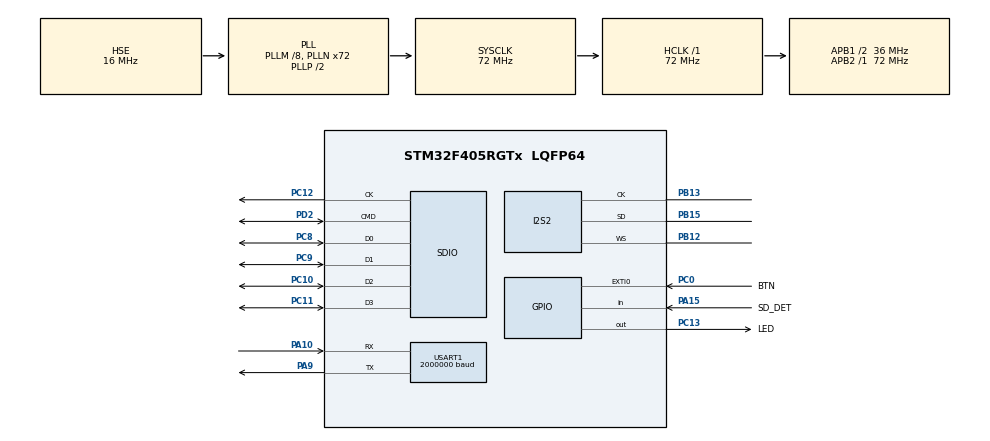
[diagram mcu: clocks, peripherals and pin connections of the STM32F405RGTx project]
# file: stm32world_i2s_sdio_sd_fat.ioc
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ARM.CMSIS.5.6.0.CMSISJjDSP=Library
Dma.Request0=SPI2_TX
Dma.Request1=USART1_RX
Dma.Request2=SDIO_RX
Dma.Request3=SDIO_TX
Dma.SDIO_RX.2.Direction=DMA_PERIPH_TO_MEMORY
Dma.SDIO_RX.2.FIFOMode=DMA_FIFOMODE_ENABLE
Dma.SDIO_RX.2.FIFOThreshold=DMA_FIFO_THRESHOLD_FULL
Dma.SDIO_RX.2.Instance=DMA2_Stream3
Dma.SDIO_RX.2.MemBurst=DMA_MBURST_INC4
Dma.SDIO_RX.2.MemDataAlignment=DMA_MDATAALIGN_WORD
Dma.SDIO_RX.2.MemInc=DMA_MINC_ENABLE
Dma.SDIO_RX.2.Mode=DMA_PFCTRL
Dma.SDIO_RX.2.PeriphBurst=DMA_PBURST_INC4
Dma.SDIO_RX.2.PeriphDataAlignment=DMA_PDATAALIGN_WORD
Dma.SDIO_RX.2.PeriphInc=DMA_PINC_DISABLE
Dma.SDIO_RX.2.Priority=DMA_PRIORITY_LOW
Dma.SDIO_TX.3.Direction=DMA_MEMORY_TO_PERIPH
Dma.SDIO_TX.3.FIFOMode=DMA_FIFOMODE_ENABLE
Dma.SDIO_TX.3.FIFOThreshold=DMA_FIFO_THRESHOLD_FULL
Dma.SDIO_TX.3.Instance=DMA2_Stream6
Dma.SDIO_TX.3.MemBurst=DMA_MBURST_INC4
Dma.SDIO_TX.3.MemDataAlignment=DMA_MDATAALIGN_WORD
Dma.SDIO_TX.3.MemInc=DMA_MINC_ENABLE
Dma.SDIO_TX.3.Mode=DMA_PFCTRL
Dma.SDIO_TX.3.PeriphBurst=DMA_PBURST_INC4
Dma.SDIO_TX.3.PeriphDataAlignment=DMA_PDATAALIGN_WORD
Dma.SDIO_TX.3.PeriphInc=DMA_PINC_DISABLE
Dma.SDIO_TX.3.Priority=DMA_PRIORITY_LOW
Dma.SPI2_TX.0.Direction=DMA_MEMORY_TO_PERIPH
Dma.SPI2_TX.0.FIFOMode=DMA_FIFOMODE_DISABLE
Dma.SPI2_TX.0.Instance=DMA1_Stream4
Dma.SPI2_TX.0.MemDataAlignment=DMA_MDATAALIGN_HALFWORD
Dma.SPI2_TX.0.MemInc=DMA_MINC_ENABLE
Dma.SPI2_TX.0.Mode=DMA_CIRCULAR
Dma.SPI2_TX.0.PeriphDataAlignment=DMA_PDATAALIGN_HALFWORD
Dma.SPI2_TX.0.PeriphInc=DMA_PINC_DISABLE
Dma.SPI2_TX.0.Priority=DMA_PRIORITY_MEDIUM
Dma.USART1_RX.1.Direction=DMA_PERIPH_TO_MEMORY
Dma.USART1_RX.1.FIFOMode=DMA_FIFOMODE_DISABLE
Dma.USART1_RX.1.Instance=DMA2_Stream2
Dma.USART1_RX.1.MemDataAlignment=DMA_MDATAALIGN_BYTE
Dma.USART1_RX.1.MemInc=DMA_MINC_ENABLE
Dma.USART1_RX.1.Mode=DMA_CIRCULAR
Dma.USART1_RX.1.PeriphDataAlignment=DMA_PDATAALIGN_BYTE
Dma.USART1_RX.1.PeriphInc=DMA_PINC_DISABLE
Dma.USART1_RX.1.Priority=DMA_PRIORITY_LOW
FATFS.BSP.number=1
FATFS.USE_DMA_CODE_SD=1
FATFS._FS_EXFAT=1
FATFS._FS_LOCK=8
FATFS._FS_NOFSINFO=1
FATFS._MAX_SS=4096
FATFS._USE_CHMOD=1
FATFS._USE_EXPAND=1
FATFS._USE_FIND=1
FATFS._USE_FORWARD=1
FATFS._USE_LABEL=1
FATFS._USE_LFN=1
FATFS._VOLUMES=1
FATFS0.BSP.STBoard=false
FATFS0.BSP.api=Unknown
FATFS0.BSP.instance=PA15
FATFS0.BSP.ip=GPIO
FATFS0.BSP.mode=Input
FATFS0.BSP.name=Detect_SDIO
FATFS0.BSP.solution=PA15
I2S2.AudioFreq=I2S_AUDIOFREQ_96K
I2S2.DataFormat=I2S_DATAFORMAT_16B
I2S2.ErrorAudioFreq=0.15 %
I2S2.FullDuplexMode=I2S_FULLDUPLEXMODE_DISABLE
I2S2.Instance=SPI$Index
I2S2.RealAudioFreq=96.153 KHz
I2S2.Standard=I2S_STANDARD_PHILIPS
I2S2.VirtualMode=I2S_MODE_MASTER
Mcu.Family=STM32F4
Mcu.Name=STM32F405RGTx
Mcu.Package=LQFP64
NVIC.DMA1_Stream4_IRQn=true\:0\:0\:false\:false\:true\:false\:true\:true
NVIC.DMA2_Stream2_IRQn=true\:0\:0\:true\:false\:true\:false\:true\:true
NVIC.DMA2_Stream3_IRQn=true\:0\:0\:false\:false\:true\:false\:true\:true
NVIC.DMA2_Stream6_IRQn=true\:0\:0\:false\:false\:true\:false\:true\:true
NVIC.EXTI0_IRQn=true\:0\:0\:false\:false\:true\:true\:true\:true
NVIC.PriorityGroup=NVIC_PRIORITYGROUP_4
NVIC.SDIO_IRQn=true\:0\:0\:false\:false\:true\:true\:true\:true
NVIC.USART1_IRQn=true\:0\:0\:true\:false\:true\:true\:true\:true
PA10.Mode=Asynchronous
PA10.Signal=USART1_RX
PA13.Mode=Trace_Asynchronous_SW
PA13.Signal=SYS_JTMS-SWDIO
PA14.Mode=Trace_Asynchronous_SW
PA14.Signal=SYS_JTCK-SWCLK
PA15.GPIO_Label=SD_DET
PA15.GPIO_PuPd=GPIO_PULLDOWN
PA15.Signal=GPIO_Input
PA9.Mode=Asynchronous
PA9.Signal=USART1_TX
PB12.Mode=Half_Duplex_Master
PB12.Signal=I2S2_WS
PB13.Mode=Half_Duplex_Master
PB13.Signal=I2S2_CK
PB15.Mode=Half_Duplex_Master
PB15.Signal=I2S2_SD
PB3.Mode=Trace_Asynchronous_SW
PB3.Signal=SYS_JTDO-SWO
PC0.GPIO_Label=BTN
PC0.GPIO_ModeDefaultEXTI=GPIO_MODE_IT_RISING_FALLING
PC0.GPIO_PuPd=GPIO_PULLUP
PC0.Signal=GPXTI0
PC10.GPIO_PuPd=GPIO_PULLUP
PC10.Mode=SD_4_bits_Wide_bus
PC10.Signal=SDIO_D2
PC11.GPIO_PuPd=GPIO_PULLUP
PC11.Mode=SD_4_bits_Wide_bus
PC11.Signal=SDIO_D3
PC12.Mode=SD_4_bits_Wide_bus
PC12.Signal=SDIO_CK
PC13-ANTI_TAMP.GPIO_Label=LED
PC13-ANTI_TAMP.GPIO_ModeDefaultOutputPP=GPIO_MODE_OUTPUT_OD
PC13-ANTI_TAMP.GPIO_PuPd=GPIO_NOPULL
PC13-ANTI_TAMP.PinState=GPIO_PIN_SET
PC13-ANTI_TAMP.Signal=GPIO_Output
PC8.GPIO_PuPd=GPIO_PULLUP
PC8.Mode=SD_4_bits_Wide_bus
PC8.Signal=SDIO_D0
PC9.GPIO_PuPd=GPIO_PULLUP
PC9.Mode=SD_4_bits_Wide_bus
PC9.Signal=SDIO_D1
PD2.GPIO_PuPd=GPIO_PULLUP
PD2.Mode=SD_4_bits_Wide_bus
PD2.Signal=SDIO_CMD
PH0-OSC_IN.Mode=HSE-External-Oscillator
PH0-OSC_IN.Signal=RCC_OSC_IN
PH1-OSC_OUT.Mode=HSE-External-Oscillator
PH1-OSC_OUT.Signal=RCC_OSC_OUT
ProjectManager.HeapSize=0x400
ProjectManager.StackSize=0x800
ProjectManager.TargetToolchain=STM32CubeIDE
RCC.48MHZClocksFreq_Value=48000000
RCC.AHBFreq_Value=72000000
RCC.APB1CLKDivider=RCC_HCLK_DIV2
RCC.APB1Freq_Value=36000000
RCC.APB1TimFreq_Value=72000000
RCC.APB2Freq_Value=72000000
RCC.APB2TimFreq_Value=72000000
RCC.CortexFreq_Value=72000000
RCC.HCLKFreq_Value=72000000
RCC.HSE_VALUE=16000000
RCC.HSI_VALUE=16000000
RCC.LSE_VALUE=32768
RCC.PLLI2SN=120
RCC.PLLM=8
RCC.PLLN=72
RCC.PLLQ=3
RCC.PLLSourceVirtual=RCC_PLLSOURCE_HSE
RCC.SYSCLKFreq_VALUE=72000000
RCC.SYSCLKSource=RCC_SYSCLKSOURCE_PLLCLK
RCC.VCOOutputFreq_Value=144000000
SDIO.ClockBypass=SDIO_CLOCK_BYPASS_DISABLE
SDIO.ClockDiv=4
USART1.BaudRate=2000000
USART1.VirtualMode=VM_ASYNC
VP_ARM.CMSIS_VS_CMSISJjDSP_1.7.0_5.6.0.Mode=CMSISJjDSP
VP_FATFS_VS_SDIO.Mode=SDIO
board=custom

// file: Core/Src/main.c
/* USER CODE BEGIN Header */
/**
 ******************************************************************************
 * @file           : main.c
 * @brief          : Main program body
 ******************************************************************************
 * @attention
 *
 * Copyright (c) 2025 Lars Boegild Thomsen <lth@stm32world.com>
 * All rights reserved.
 *
 * This software is licensed under terms that can be found in the LICENSE file
 * in the root directory of this software component.
 * If no LICENSE file comes with this software, it is provided AS-IS.
 *
 ******************************************************************************
 */
/* USER CODE END Header */
#include "main.h"
#include "fatfs.h"

/* USER CODE BEGIN Includes */
#include <stdio.h>
#include <string.h>
/* USER CODE END Includes */

/* USER CODE BEGIN PTD */
typedef struct {
    uint16_t format;
    uint16_t channels;
    uint32_t frequency;
    uint32_t bytes_per_sec;
    uint16_t bytes_per_block;
    uint16_t bits_per_sample;
} fmt_typedef;
/* USER CODE END PTD */

/* USER CODE BEGIN PD */

//#define TAU 6.28318530717958647692
#define I2S_DMA_BUFFER_SAMPLES 512
#define I2S_DMA_BUFFER_SIZE 2 * 2 * I2S_DMA_BUFFER_SAMPLES // 2 full buffers L+R samples
#define SAMPLE_FREQ 96000
#define OUTPUT_MID 32768

/* USER CODE END PD */

I2S_HandleTypeDef hi2s2;
DMA_HandleTypeDef hdma_spi2_tx;

SD_HandleTypeDef hsd;
DMA_HandleTypeDef hdma_sdio_rx;
DMA_HandleTypeDef hdma_sdio_tx;

UART_HandleTypeDef huart1;
DMA_HandleTypeDef hdma_usart1_rx;

/* USER CODE BEGIN PV */

const char total_uptime_filename[] = "uptime.dat";

float amplifier = 0.5;

int8_t usart_rx_buffer[16];

int16_t i2s_dma_buffer[I2S_DMA_BUFFER_SIZE];
int16_t *do_buffer;

uint32_t buffers_done;
uint32_t total_uptime;

uint8_t open_next_file = 1;

FRESULT res;
DIR dir;
FIL music_file;
FILINFO music_file_info;

/* USER CODE END PV */

void SystemClock_Config(void);
static void MX_GPIO_Init(void);
static void MX_DMA_Init(void);
static void MX_USART1_UART_Init(void);
static void MX_I2S2_Init(void);
static void MX_SDIO_SD_Init(void);

/* USER CODE BEGIN 0 */

// Send printf to uart1
int _write(int fd, char *ptr, int len) {
    HAL_StatusTypeDef hstatus;

    if (fd == 1 || fd == 2) {
        hstatus = HAL_UART_Transmit(&huart1, (uint8_t*) ptr, len, HAL_MAX_DELAY);
        if (hstatus == HAL_OK)
            return len;
        else
            return -1;
    }
    return -1;
}

void HAL_GPIO_EXTI_Callback(uint16_t GPIO_Pin) {
    if (GPIO_Pin == BTN_Pin) {

        printf("BTN ");
        GPIO_PinState pin_state = HAL_GPIO_ReadPin(BTN_GPIO_Port, BTN_Pin);

        if (pin_state == GPIO_PIN_RESET) {
            printf("released\n");
            open_next_file = 1;
            //new_btn_state = 1;
        } else {
            printf("pressed\n");
            //new_btn_state = 0;
        }

    }
}

void set_i2s_freq(uint32_t freq) {

    printf("Setting I2S sample frequency to: %lu\n", freq);

    // Stop the DMA transfers
    HAL_I2S_DMAStop(&hi2s2);

    // Deinit
    HAL_I2S_DeInit(&hi2s2);

    if (freq > 0) {

        hi2s2.Init.AudioFreq = freq;

        HAL_I2S_Init(&hi2s2);

        HAL_I2S_Transmit_DMA(&hi2s2, (uint16_t*) &i2s_dma_buffer, I2S_DMA_BUFFER_SIZE);

    }

}

void process_buffer(int16_t *target_buffer) {

    int16_t buf[2 * I2S_DMA_BUFFER_SAMPLES] = { 0 };
    unsigned int bytes_read = 0;

    if (f_read(&music_file, &buf, sizeof(buf), &bytes_read) == FR_OK) {

        for (int i = 0; i < 2 * I2S_DMA_BUFFER_SAMPLES; ++i) {
            buf[i] = buf[i] * amplifier;
        }

        memcpy(target_buffer, buf, sizeof(buf));

        if (bytes_read < sizeof(buf)) {

            printf("File done!\n");

            set_i2s_freq(0);

            open_next_file = 1;
        }

    }

}

void HAL_I2S_TxCpltCallback(I2S_HandleTypeDef *hi2s) {
    do_buffer = &i2s_dma_buffer[2 * I2S_DMA_BUFFER_SAMPLES]; // Second half
}

void HAL_I2S_TxHalfCpltCallback(I2S_HandleTypeDef *hi2s) {
    do_buffer = &i2s_dma_buffer[0]; // Second half
}

void process_character(char ch) {

    switch (ch) {
    case 'e':
        amplifier += 0.01;
        if (amplifier > 1)
            amplifier = 1;
        printf("Amp = %0.2f\n", amplifier);
        break;
    case 'd':
        amplifier -= 0.01;
        if (amplifier < 0)
            amplifier = 0;
        printf("Amp = %0.2f\n", amplifier);
        break;
    case 'f':
        open_next_file = 1;
        break;
    }

}

/**
 * @brief  UART Event Callback.  Fired on idle or if dma buffer half full or full.
 * @param  huart  Pointer to a UART_HandleTypeDef structure that contains
 *                the configuration information for the specified UART module.
 * @param  offset A offset counter pointing to last valid character in DMA buffer.
 * @retval None
 */
void HAL_UARTEx_RxEventCallback(UART_HandleTypeDef *huart, uint16_t offset) {

    static uint16_t last_offset = 0;

    // Ignore if called twice (which will happen on every half buffer)
    if (offset != last_offset) {

        // If wrap around reset last_size
        if (offset < last_offset)
            last_offset = 0;

        while (last_offset < offset) {
            process_character((char) usart_rx_buffer[last_offset]);
            ++last_offset;
        }

    }

}

uint8_t BSP_SD_IsDetected(void)
{
    __IO uint8_t status = SD_PRESENT;

    if (HAL_GPIO_ReadPin(SD_DETECT_GPIO_PORT, SD_DETECT_PIN) != GPIO_PIN_RESET) {
        status = SD_NOT_PRESENT;
    }

    return status;
}

FRESULT parse_wav_header(FIL *f, fmt_typedef *format) {

    char buf[512];  // 512 bytes for header - enough?
    unsigned int n;

    if (f_read(f, &buf, sizeof(buf), &n) != FR_OK && n < sizeof(buf)) {
        printf("Read error\n");
        return FR_INT_ERR;
    }

    printf("Read %d characters\n", n);

    // Ensure null terminated
    buf[sizeof(buf) - 1] = 0;

    if (strstr(buf, "RIFF") != &buf[0]) {
        printf("File is not a RIFF file\n");
        return FR_INT_ERR;
    }

    //char *ch = strstr(buf, "WAVEfmt ");

    if (strstr(buf, "WAVEfmt ") != &buf[8]) {
        printf("Can't find WAVE fmt\n");
        return FR_INT_ERR;
    }

    memcpy(format, &buf[20], sizeof(fmt_typedef));

    //char *data_pos = strstr(buf, "data"); // Consistantly fails
    int data_offset = 0;
    for (size_t i = 0; i <= sizeof(buf) - 4; ++i) {
        if (memcmp(buf + i, "data", 4) == 0) {
            data_offset = i;
            break; // Found it, so exit the loop
        }
    }

    if (data_offset == 0) {
        printf("Can not find data\n");
        return FR_INT_ERR;
    }

    printf("Data offset: %u\n", data_offset);

    if (f_lseek(f, data_offset) != FR_OK) {
        printf("Can not seek\n");
        return FR_INT_ERR;
    }

    data_offset = f_tell(f);

    printf("File pos = %d\n", data_offset);

    return FR_OK;
}

/* USER CODE END 0 */

int main(void)
{

    /* MCU Configuration--------------------------------------------------------*/

    /* Reset of all peripherals, Initializes the Flash interface and the Systick. */
    HAL_Init();

    /* Configure the system clock */
    SystemClock_Config();

    /* Initialize all configured peripherals */
    MX_GPIO_Init();
    MX_DMA_Init();
    MX_USART1_UART_Init();
    MX_I2S2_Init();
    MX_SDIO_SD_Init();
    MX_FATFS_Init();
    /* USER CODE BEGIN 2 */

    printf("\n\n\n---------------------\nStarting music player\n");

    printf("SD Card Information:\n");
    printf("Block size  : %lu\n", hsd.SdCard.BlockSize);
    printf("Block nmbr  : %lu\n", hsd.SdCard.BlockNbr);
    printf("Card size   : %lu\n", (hsd.SdCard.BlockSize * hsd.SdCard.BlockNbr) / 1000);
    printf("Card version: %lu\n", hsd.SdCard.CardVersion);

    uint32_t wbytes, rbytes;

    if (f_mount(&SDFatFS, (TCHAR const*) SDPath, 0) != FR_OK) {
        printf("Unable to mount disk\n");
        Error_Handler();
    }

    if (f_open(&SDFile, total_uptime_filename, FA_OPEN_EXISTING | FA_READ) == FR_OK) {
        if (f_read(&SDFile, &total_uptime, sizeof(total_uptime), (void*) &rbytes) == FR_OK) {
            printf("Total uptime = %lu\n", total_uptime);
            f_close(&SDFile);
        } else {
            printf("Unable to read\n");
            Error_Handler();
        }
    } else {
        // File did not exist - let's create it
        if (f_open(&SDFile, total_uptime_filename, FA_CREATE_ALWAYS | FA_WRITE) == FR_OK) {
            if (f_write(&SDFile, &total_uptime, sizeof(total_uptime), (void*) &wbytes) == FR_OK) {
                printf("File %s created\n", total_uptime_filename);
                f_close(&SDFile);
            } else {
                printf("Unable to write\n");
                Error_Handler();
            }
        } else {
            printf("Unable to create\n");
            Error_Handler();
        }
    }

    //total_uptime = 0;

    printf("Total uptime reported = %lu\n", total_uptime);

    res = f_findfirst(&dir, &music_file_info, "", "*.wav");

    printf("Found: %s\n", music_file_info.fname);

    HAL_I2S_Transmit_DMA(&hi2s2, (uint16_t*) &i2s_dma_buffer, I2S_DMA_BUFFER_SIZE);

    HAL_UARTEx_ReceiveToIdle_DMA(&huart1, (uint8_t*) &usart_rx_buffer, sizeof(usart_rx_buffer));

    /* USER CODE END 2 */

    /* Infinite loop */
    /* USER CODE BEGIN WHILE */

    uint32_t now = 0, next_blink = 500, next_tick = 1000, loop_cnt = 0;

    while (1) {

        now = uwTick;

        if (now >= next_blink) {

            HAL_GPIO_TogglePin(LED_GPIO_Port, LED_Pin);

            next_blink = now + 500;
        }

        if (now >= next_tick) {

            //printf("Tick %lu (loop=%lu bd=%lu)\n", now / 1000, loop_cnt, buffers_done);

            if (((now / 1000) % 60) == 0) {

                ++total_uptime;

                printf("Updating total uptime to %lu minutes\n", total_uptime);

                // Update the total uptime file
                if (f_open(&SDFile, total_uptime_filename, FA_OPEN_EXISTING | FA_WRITE) == FR_OK) {
                    if (f_write(&SDFile, &total_uptime, sizeof(total_uptime), (void*) &wbytes) != FR_OK) {
                        printf("Unable to write\n");
                    }
                    f_close(&SDFile);
                } else {
                    printf("Unable to open file\n");
                }

            }

            open_next_file = 0;

            loop_cnt = 0;
            next_tick = now + 1000;

        }

        if (open_next_file) {

            f_close(&music_file);

            // Experimental advance to next
            res = f_findnext(&dir, &music_file_info);

            if (res != FR_OK || music_file_info.fname[0] == '\0') { // If we're out of files start again
                res = f_findfirst(&dir, &music_file_info, "", "*.wav");
            }

            printf("Next file: %s\n", music_file_info.fname);

            if (f_open(&music_file, music_file_info.fname, FA_READ) != FR_OK) {
                printf("Unable to open %s\n", music_file_info.fname);
            }

            fmt_typedef wav_format;

            if (parse_wav_header(&music_file, &wav_format) != FR_OK) {
                printf("Unable to parse header\n");
                open_next_file = 1;
            } else {

                printf("Wav format: %d\n", wav_format.format);
                printf("Wav channels: %d\n", wav_format.channels);
                printf("Wav frequency: %lu\n", wav_format.frequency);
                printf("Wav bytes per sec: %lu\n", wav_format.bytes_per_sec);
                printf("Wav bytes per block: %d\n", wav_format.bytes_per_block);
                printf("Wav bits per sample: %d\n", wav_format.bits_per_sample);

                set_i2s_freq(wav_format.frequency);

                open_next_file = 0;
            }

        }

        if (do_buffer) {

            process_buffer(do_buffer);

            ++buffers_done;
            do_buffer = 0;
        }

        ++loop_cnt;

        /* USER CODE END WHILE */

    }
}

void SystemClock_Config(void)
{
    RCC_OscInitTypeDef RCC_OscInitStruct = { 0 };
    RCC_ClkInitTypeDef RCC_ClkInitStruct = { 0 };

    /** Configure the main internal regulator output voltage
     */
    __HAL_RCC_PWR_CLK_ENABLE();
    __HAL_PWR_VOLTAGESCALING_CONFIG(PWR_REGULATOR_VOLTAGE_SCALE1);

    /** Initializes the RCC Oscillators according to the specified parameters
     * in the RCC_OscInitTypeDef structure.
     */
    RCC_OscInitStruct.OscillatorType = RCC_OSCILLATORTYPE_HSE;
    RCC_OscInitStruct.HSEState = RCC_HSE_ON;
    RCC_OscInitStruct.PLL.PLLState = RCC_PLL_ON;
    RCC_OscInitStruct.PLL.PLLSource = RCC_PLLSOURCE_HSE;
    RCC_OscInitStruct.PLL.PLLM = 8;
    RCC_OscInitStruct.PLL.PLLN = 72;
    RCC_OscInitStruct.PLL.PLLP = RCC_PLLP_DIV2;
    RCC_OscInitStruct.PLL.PLLQ = 3;
    if (HAL_RCC_OscConfig(&RCC_OscInitStruct) != HAL_OK)
            {
        Error_Handler();
    }

    /** Initializes the CPU, AHB and APB buses clocks
     */
    RCC_ClkInitStruct.ClockType = RCC_CLOCKTYPE_HCLK | RCC_CLOCKTYPE_SYSCLK
            | RCC_CLOCKTYPE_PCLK1 | RCC_CLOCKTYPE_PCLK2;
    RCC_ClkInitStruct.SYSCLKSource = RCC_SYSCLKSOURCE_PLLCLK;
    RCC_ClkInitStruct.AHBCLKDivider = RCC_SYSCLK_DIV1;
    RCC_ClkInitStruct.APB1CLKDivider = RCC_HCLK_DIV2;
    RCC_ClkInitStruct.APB2CLKDivider = RCC_HCLK_DIV1;

    if (HAL_RCC_ClockConfig(&RCC_ClkInitStruct, FLASH_LATENCY_2) != HAL_OK)
            {
        Error_Handler();
    }
}

static void MX_I2S2_Init(void)
{

    hi2s2.Instance = SPI2;
    hi2s2.Init.Mode = I2S_MODE_MASTER_TX;
    hi2s2.Init.Standard = I2S_STANDARD_PHILIPS;
    hi2s2.Init.DataFormat = I2S_DATAFORMAT_16B;
    hi2s2.Init.MCLKOutput = I2S_MCLKOUTPUT_DISABLE;
    hi2s2.Init.AudioFreq = I2S_AUDIOFREQ_96K;
    hi2s2.Init.CPOL = I2S_CPOL_LOW;
    hi2s2.Init.ClockSource = I2S_CLOCK_PLL;
    hi2s2.Init.FullDuplexMode = I2S_FULLDUPLEXMODE_DISABLE;
    if (HAL_I2S_Init(&hi2s2) != HAL_OK)
            {
        Error_Handler();
    }

}

static void MX_SDIO_SD_Init(void)
{

    hsd.Instance = SDIO;
    hsd.Init.ClockEdge = SDIO_CLOCK_EDGE_RISING;
    hsd.Init.ClockBypass = SDIO_CLOCK_BYPASS_DISABLE;
    hsd.Init.ClockPowerSave = SDIO_CLOCK_POWER_SAVE_DISABLE;
    hsd.Init.BusWide = SDIO_BUS_WIDE_4B;
    hsd.Init.HardwareFlowControl = SDIO_HARDWARE_FLOW_CONTROL_DISABLE;
    hsd.Init.ClockDiv = 4;
    /* USER CODE BEGIN SDIO_Init 2 */

    // First init with 1B bus - SD card will not initialize with 4 bits
    hsd.Init.BusWide = SDIO_BUS_WIDE_1B;
    if (HAL_SD_Init(&hsd) != HAL_OK) {
        Error_Handler();
    }

    // Now we can switch to 4 bit mode
    if (HAL_SD_ConfigWideBusOperation(&hsd, SDIO_BUS_WIDE_4B) != HAL_OK) {
        Error_Handler();
    }

    /* USER CODE END SDIO_Init 2 */

}

static void MX_USART1_UART_Init(void)
{

    huart1.Instance = USART1;
    huart1.Init.BaudRate = 2000000;
    huart1.Init.WordLength = UART_WORDLENGTH_8B;
    huart1.Init.StopBits = UART_STOPBITS_1;
    huart1.Init.Parity = UART_PARITY_NONE;
    huart1.Init.Mode = UART_MODE_TX_RX;
    huart1.Init.HwFlowCtl = UART_HWCONTROL_NONE;
    huart1.Init.OverSampling = UART_OVERSAMPLING_16;
    if (HAL_UART_Init(&huart1) != HAL_OK)
            {
        Error_Handler();
    }

}

static void MX_DMA_Init(void)
{

    /* DMA controller clock enable */
    __HAL_RCC_DMA1_CLK_ENABLE();
    __HAL_RCC_DMA2_CLK_ENABLE();

    /* DMA interrupt init */
    /* DMA1_Stream4_IRQn interrupt configuration */
    HAL_NVIC_SetPriority(DMA1_Stream4_IRQn, 0, 0);
    HAL_NVIC_EnableIRQ(DMA1_Stream4_IRQn);
    /* DMA2_Stream2_IRQn interrupt configuration */
    HAL_NVIC_SetPriority(DMA2_Stream2_IRQn, 0, 0);
    HAL_NVIC_EnableIRQ(DMA2_Stream2_IRQn);
    /* DMA2_Stream3_IRQn interrupt configuration */
    HAL_NVIC_SetPriority(DMA2_Stream3_IRQn, 0, 0);
    HAL_NVIC_EnableIRQ(DMA2_Stream3_IRQn);
    /* DMA2_Stream6_IRQn interrupt configuration */
    HAL_NVIC_SetPriority(DMA2_Stream6_IRQn, 0, 0);
    HAL_NVIC_EnableIRQ(DMA2_Stream6_IRQn);

}

static void MX_GPIO_Init(void)
{
    GPIO_InitTypeDef GPIO_InitStruct = { 0 };

    /* GPIO Ports Clock Enable */
    __HAL_RCC_GPIOC_CLK_ENABLE();
    __HAL_RCC_GPIOH_CLK_ENABLE();
    __HAL_RCC_GPIOB_CLK_ENABLE();
    __HAL_RCC_GPIOA_CLK_ENABLE();
    __HAL_RCC_GPIOD_CLK_ENABLE();

    /*Configure GPIO pin Output Level */
    HAL_GPIO_WritePin(LED_GPIO_Port, LED_Pin, GPIO_PIN_SET);

    /*Configure GPIO pin : LED_Pin */
    GPIO_InitStruct.Pin = LED_Pin;
    GPIO_InitStruct.Mode = GPIO_MODE_OUTPUT_OD;
    GPIO_InitStruct.Pull = GPIO_NOPULL;
    GPIO_InitStruct.Speed = GPIO_SPEED_FREQ_LOW;
    HAL_GPIO_Init(LED_GPIO_Port, &GPIO_InitStruct);

    /*Configure GPIO pin : BTN_Pin */
    GPIO_InitStruct.Pin = BTN_Pin;
    GPIO_InitStruct.Mode = GPIO_MODE_IT_RISING_FALLING;
    GPIO_InitStruct.Pull = GPIO_PULLUP;
    HAL_GPIO_Init(BTN_GPIO_Port, &GPIO_InitStruct);

    /*Configure GPIO pin : SD_DET_Pin */
    GPIO_InitStruct.Pin = SD_DET_Pin;
    GPIO_InitStruct.Mode = GPIO_MODE_INPUT;
    GPIO_InitStruct.Pull = GPIO_PULLDOWN;
    HAL_GPIO_Init(SD_DET_GPIO_Port, &GPIO_InitStruct);

    /* EXTI interrupt init*/
    HAL_NVIC_SetPriority(EXTI0_IRQn, 0, 0);
    HAL_NVIC_EnableIRQ(EXTI0_IRQn);

}

void Error_Handler(void)
{
    __disable_irq();
    while (1)
    {
    }
}
